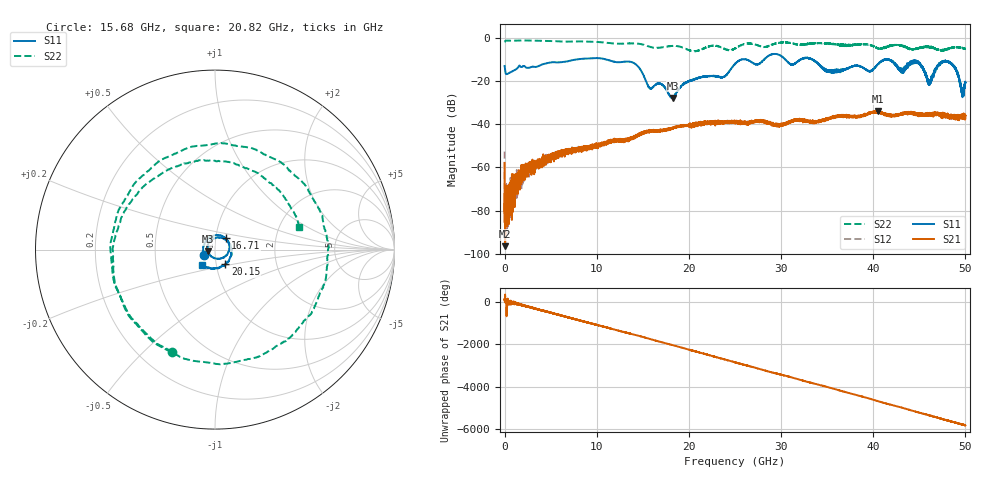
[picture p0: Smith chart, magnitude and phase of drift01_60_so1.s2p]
!Created with skrf (http://scikit-rf.org).
# Hz S RI R 50.0
!freq ReS11 ImS11 ReS21 ImS21 ReS12 ImS12 ReS22 ImS22
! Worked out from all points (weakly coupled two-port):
!   10001 points, 300 kHz to 50 GHz, reference 50 ohm
!   highest |S21| = -34.02 dB at 40.52 GHz (marker M1); lowest = -96.5 dB at 60.3 MHz (marker M2)
!   lowest |S11| = -28.0 dB at 18.26 GHz (marker M3), VSWR 1.08, Z = 46.2 - j0.8 ohm
!   |S11| at or under -10 dB: start of sweep to 8.033 GHz; 10.9 GHz to 25.86 GHz (14.96 GHz wide, 81.4 % of centre); 33.32 GHz to end of sweep (the widest 3 of 20)
!   |S22| runs from -6.4 to -1.4 dB; largest |S21 - S12| = 0.0041
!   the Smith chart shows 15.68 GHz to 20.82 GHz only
!   S11 on the Smith chart (normalised r, x): 15.68 GHz: 0.88, -0.05; 16.71 GHz: 1.12, +0.15; 20.15 GHz: 1.11, -0.18; 20.82 GHz: 0.85, -0.15
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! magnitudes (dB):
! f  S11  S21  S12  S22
! 300 kHz  -13.2  -58.0  -52.7  -2.1
! 60.3 MHz  -15.3  -96.5  -81.4  -1.6
! 255.3 MHz  -16.9  -76.5  -74.3  -1.4
! 2.605 GHz  -14.0  -60.2  -61.1  -1.4
! 8.335 GHz  -9.9  -51.2  -51.5  -1.8
! 13.9 GHz  -11.5  -46.5  -46.3  -2.7
! 15.68 GHz  -23.0  -43.7  -43.5  -4.2
! 16.67 GHz  -21.2  -43.1  -43.2  -4.8
! 16.71 GHz  -21.1  -43.4  -43.4  -4.7
! 18.26 GHz  -28.0  -41.8  -42.1  -3.9
! 20.15 GHz  -20.0  -40.7  -40.7  -6.0
! 20.82 GHz  -19.0  -39.4  -40.9  -6.3
! 25 GHz  -12.2  -39.1  -39.2  -5.0
! 33.34 GHz  -10.1  -38.8  -38.6  -2.7
! 35.3 GHz  -15.2  -37.5  -37.6  -2.9
! 40.52 GHz  -12.3  -34.0  -34.5  -5.0
! 41.67 GHz  -10.1  -35.6  -35.8  -4.1
! 43.04 GHz  -15.0  -35.5  -35.3  -3.7
! 44.8 GHz  -11.5  -35.2  -35.5  -5.1
! 46.12 GHz  -20.1  -34.8  -35.4  -4.3
! 48.04 GHz  -11.3  -35.7  -36.2  -5.2
! 50 GHz  -21.0  -36.2  -36.4  -5.2
